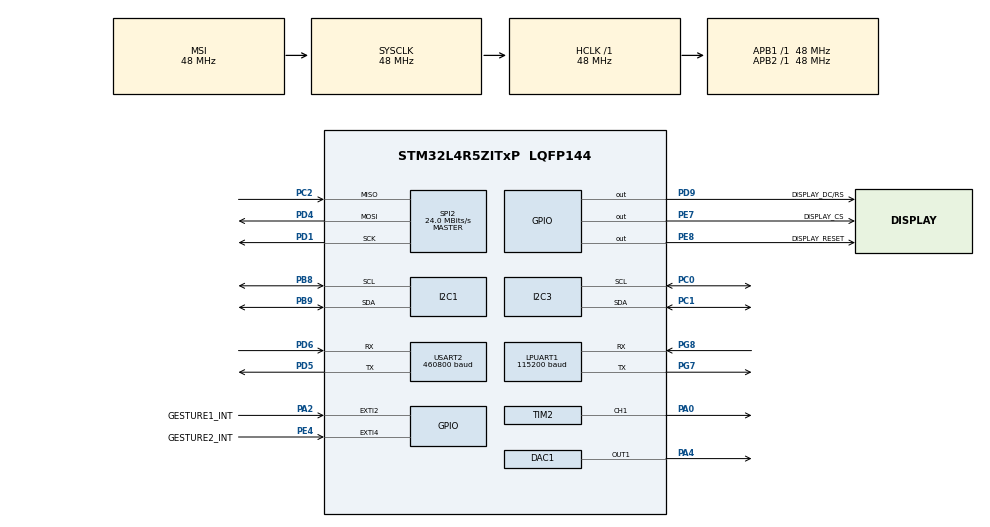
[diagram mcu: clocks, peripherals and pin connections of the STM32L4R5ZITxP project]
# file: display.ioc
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DAC1.DAC_Trigger-DAC_OUT1=DAC_TRIGGER_T5_TRGO
Dma.DAC1_CH1.2.Direction=DMA_MEMORY_TO_PERIPH
Dma.DAC1_CH1.2.EventEnable=DISABLE
Dma.DAC1_CH1.2.Instance=DMA1_Channel4
Dma.DAC1_CH1.2.MemDataAlignment=DMA_MDATAALIGN_BYTE
Dma.DAC1_CH1.2.MemInc=DMA_MINC_ENABLE
Dma.DAC1_CH1.2.Mode=DMA_CIRCULAR
Dma.DAC1_CH1.2.PeriphDataAlignment=DMA_PDATAALIGN_HALFWORD
Dma.DAC1_CH1.2.PeriphInc=DMA_PINC_DISABLE
Dma.DAC1_CH1.2.Polarity=HAL_DMAMUX_REQUEST_GEN_RISING
Dma.DAC1_CH1.2.Priority=DMA_PRIORITY_LOW
Dma.DAC1_CH1.2.RequestNumber=1
Dma.DAC1_CH1.2.SignalID=NONE
Dma.DAC1_CH1.2.SyncEnable=DISABLE
Dma.DAC1_CH1.2.SyncPolarity=HAL_DMAMUX_SYNC_NO_EVENT
Dma.DAC1_CH1.2.SyncRequestNumber=1
Dma.DAC1_CH1.2.SyncSignalID=NONE
Dma.Request0=SPI2_TX
Dma.Request1=USART2_RX
Dma.Request2=DAC1_CH1
Dma.Request3=TIM2_CH1
Dma.SPI2_TX.0.Direction=DMA_MEMORY_TO_PERIPH
Dma.SPI2_TX.0.EventEnable=DISABLE
Dma.SPI2_TX.0.Instance=DMA1_Channel1
Dma.SPI2_TX.0.MemDataAlignment=DMA_MDATAALIGN_BYTE
Dma.SPI2_TX.0.MemInc=DMA_MINC_ENABLE
Dma.SPI2_TX.0.Mode=DMA_NORMAL
Dma.SPI2_TX.0.PeriphDataAlignment=DMA_PDATAALIGN_BYTE
Dma.SPI2_TX.0.PeriphInc=DMA_PINC_DISABLE
Dma.SPI2_TX.0.Polarity=HAL_DMAMUX_REQUEST_GEN_RISING
Dma.SPI2_TX.0.Priority=DMA_PRIORITY_LOW
Dma.SPI2_TX.0.RequestNumber=1
Dma.SPI2_TX.0.SignalID=NONE
Dma.SPI2_TX.0.SyncEnable=DISABLE
Dma.SPI2_TX.0.SyncPolarity=HAL_DMAMUX_SYNC_NO_EVENT
Dma.SPI2_TX.0.SyncRequestNumber=1
Dma.SPI2_TX.0.SyncSignalID=NONE
Dma.TIM2_CH1.3.Direction=DMA_MEMORY_TO_PERIPH
Dma.TIM2_CH1.3.EventEnable=DISABLE
Dma.TIM2_CH1.3.Instance=DMA1_Channel3
Dma.TIM2_CH1.3.MemDataAlignment=DMA_MDATAALIGN_BYTE
Dma.TIM2_CH1.3.MemInc=DMA_MINC_ENABLE
Dma.TIM2_CH1.3.Mode=DMA_CIRCULAR
Dma.TIM2_CH1.3.PeriphDataAlignment=DMA_PDATAALIGN_WORD
Dma.TIM2_CH1.3.PeriphInc=DMA_PINC_DISABLE
Dma.TIM2_CH1.3.Polarity=HAL_DMAMUX_REQUEST_GEN_RISING
Dma.TIM2_CH1.3.Priority=DMA_PRIORITY_HIGH
Dma.TIM2_CH1.3.RequestNumber=1
Dma.TIM2_CH1.3.SignalID=NONE
Dma.TIM2_CH1.3.SyncEnable=DISABLE
Dma.TIM2_CH1.3.SyncPolarity=HAL_DMAMUX_SYNC_NO_EVENT
Dma.TIM2_CH1.3.SyncRequestNumber=1
Dma.TIM2_CH1.3.SyncSignalID=NONE
Dma.USART2_RX.1.Direction=DMA_PERIPH_TO_MEMORY
Dma.USART2_RX.1.EventEnable=DISABLE
Dma.USART2_RX.1.Instance=DMA1_Channel2
Dma.USART2_RX.1.MemDataAlignment=DMA_MDATAALIGN_BYTE
Dma.USART2_RX.1.MemInc=DMA_MINC_ENABLE
Dma.USART2_RX.1.Mode=DMA_NORMAL
Dma.USART2_RX.1.PeriphDataAlignment=DMA_PDATAALIGN_BYTE
Dma.USART2_RX.1.PeriphInc=DMA_PINC_DISABLE
Dma.USART2_RX.1.Polarity=HAL_DMAMUX_REQUEST_GEN_RISING
Dma.USART2_RX.1.Priority=DMA_PRIORITY_LOW
Dma.USART2_RX.1.RequestNumber=1
Dma.USART2_RX.1.SignalID=NONE
Dma.USART2_RX.1.SyncEnable=DISABLE
Dma.USART2_RX.1.SyncPolarity=HAL_DMAMUX_SYNC_NO_EVENT
Dma.USART2_RX.1.SyncRequestNumber=1
Dma.USART2_RX.1.SyncSignalID=NONE
I2C1.Timing=0x10805D88
I2C3.Timing=0x10805D88
LPUART1.BaudRate=115200
LPUART1.WordLength=UART_WORDLENGTH_8B
Mcu.Family=STM32L4
Mcu.Name=STM32L4R5ZITxP
Mcu.Package=LQFP144
NVIC.DMA1_Channel1_IRQn=true\:1\:0\:true\:false\:true\:false\:true\:true
NVIC.DMA1_Channel2_IRQn=true\:1\:0\:true\:false\:true\:false\:true\:true
NVIC.DMA1_Channel3_IRQn=true\:0\:0\:false\:false\:true\:false\:true\:true
NVIC.DMA1_Channel4_IRQn=true\:1\:0\:true\:false\:true\:false\:true\:true
NVIC.EXTI2_IRQn=true\:0\:0\:true\:false\:true\:true\:true\:true
NVIC.EXTI4_IRQn=true\:0\:0\:false\:false\:true\:true\:true\:true
NVIC.PriorityGroup=NVIC_PRIORITYGROUP_4
NVIC.SPI2_IRQn=true\:1\:0\:true\:false\:true\:true\:true\:true
PA0.Signal=S_TIM2_CH1
PA1.Signal=ADCx_IN6
PA10.Signal=USB_OTG_FS_ID
PA13\ (JTMS/SWDIO).Mode=Serial_Wire
PA13\ (JTMS/SWDIO).Signal=SYS_JTMS-SWDIO
PA14\ (JTCK/SWCLK).Mode=Serial_Wire
PA14\ (JTCK/SWCLK).Signal=SYS_JTCK-SWCLK
PA2.GPIO_Label=GESTURE1_INT
PA2.GPIO_PuPd=GPIO_PULLUP
PA2.Signal=GPXTI2
PA3.Signal=ADCx_IN8
PA4.Signal=COMP_DAC11_group
PA5.Signal=SPI1_SCK
PA6.Signal=SPI1_MISO
PA7.Signal=SPI1_MOSI
PA8.Signal=USB_OTG_FS_SOF
PA9.Signal=USB_OTG_FS_VBUS
PB0.Signal=S_TIM3_CH3
PB1.Signal=ADCx_IN16
PB10.Signal=S_TIM2_CH3
PB12.Signal=SAI2_FS_A
PB13.Signal=SAI2_SCK_A
PB14.Signal=S_TIM15_CH1
PB15.Signal=SAI2_SD_A
PB2.Signal=COMP1_INP
PB3\ (JTDO/TRACESWO).Signal=SPI3_SCK
PB4\ (NJTRST).Signal=SPI3_MISO
PB5.Signal=SPI3_MOSI
PB6.Signal=COMP2_INP
PB8.GPIO_Pu=GPIO_PULLUP
PB8.Mode=I2C
PB8.Signal=I2C1_SCL
PB9.GPIO_Pu=GPIO_PULLUP
PB9.Mode=I2C
PB9.Signal=I2C1_SDA
PC0.GPIO_Pu=GPIO_PULLUP
PC0.Mode=I2C
PC0.Signal=I2C3_SCL
PC1.GPIO_Pu=GPIO_PULLUP
PC1.Mode=I2C
PC1.Signal=I2C3_SDA
PC10.Signal=SDMMC1_D2
PC11.Signal=SDMMC1_D3
PC12.Signal=SDMMC1_CK
PC13.Signal=SYS_WKUP2
PC14-OSC32_IN\ (PC14).Mode=LSE-External-Oscillator
PC14-OSC32_IN\ (PC14).Signal=RCC_OSC32_IN
PC15-OSC32_OUT\ (PC15).Mode=LSE-External-Oscillator
PC15-OSC32_OUT\ (PC15).Signal=RCC_OSC32_OUT
PC2.Mode=Full_Duplex_Master
PC2.Signal=SPI2_MISO
PC3.Signal=ADCx_IN4
PC4.Signal=ADCx_IN13
PC5.Signal=ADCx_IN14
PC6.Signal=SAI2_MCLK_A
PC7.Signal=S_TIM3_CH2
PC8.Signal=SDMMC1_D0
PC9.Signal=SDMMC1_D1
PD0.Signal=CAN1_RX
PD1.Mode=Full_Duplex_Master
PD1.Signal=SPI2_SCK
PD14.Signal=S_TIM4_CH3
PD15.Signal=S_TIM4_CH4
PD2.Signal=SDMMC1_CMD
PD3.Signal=USART2_CTS
PD4.Mode=Full_Duplex_Master
PD4.Signal=SPI2_MOSI
PD5.Mode=Asynchronous
PD5.Signal=USART2_TX
PD6.Mode=Asynchronous
PD6.Signal=USART2_RX
PD8.Signal=USART3_TX
PD9.GPIO_Label=DISPLAY_DC/RS
PD9.Signal=GPIO_Output
PE0.Signal=S_TIM4_ETR
PE10.Signal=TIM1_CH2N
PE11.Signal=S_TIM1_CH2
PE12.Signal=TIM1_CH3N
PE13.Signal=S_TIM1_CH3
PE14.Signal=TIM1_BKIN2
PE15.Signal=TIM1_BKIN
PE2.Signal=SAI1_MCLK_A
PE3.Signal=SAI1_SD_B
PE4.GPIO_Label=GESTURE2_INT
PE4.Signal=GPXTI4
PE7.GPIO_Label=DISPLAY_CS
PE7.Signal=GPIO_Output
PE8.GPIO_Label=DISPLAY_RESET
PE8.Signal=GPIO_Output
PE9.Signal=S_TIM1_CH1
PF0.Signal=I2C2_SDA
PF1.Signal=I2C2_SCL
PF2.Signal=I2C2_SMBA
PF7.Signal=SAI1_MCLK_B
PG7.Mode=Asynchronous
PG7.Signal=LPUART1_TX
PG8.Mode=Asynchronous
PG8.Signal=LPUART1_RX
PH0-OSC_IN\ (PH0).Signal=RCC_OSC_IN
PH1-OSC_OUT\ (PH1).Signal=RCC_OSC_OUT
ProjectManager.HeapSize=0x200
ProjectManager.StackSize=0x400
ProjectManager.TargetToolchain=STM32CubeIDE
RCC.ADCFreq_Value=192000000
RCC.AHBFreq_Value=48000000
RCC.APB1Freq_Value=48000000
RCC.APB1TimFreq_Value=48000000
RCC.APB2Freq_Value=48000000
RCC.APB2TimFreq_Value=48000000
RCC.CortexFreq_Value=48000000
RCC.HCLKFreq_Value=48000000
RCC.HSE_VALUE=8000000
RCC.HSI48_VALUE=48000000
RCC.HSI_VALUE=16000000
RCC.MSIClockRange=RCC_MSIRANGE_11
RCC.MSI_VALUE=48000000
RCC.SYSCLKFreq_VALUE=48000000
RCC.USBFreq_Value=192000000
RCC.VCOOutputFreq_Value=384000000
SH.ADCx_IN13.0=ADC1_IN13
SH.ADCx_IN14.0=ADC1_IN14
SH.ADCx_IN16.0=ADC1_IN16
SH.ADCx_IN4.0=ADC1_IN4
SH.ADCx_IN6.0=ADC1_IN6
SH.ADCx_IN8.0=ADC1_IN8
SH.COMP_DAC11_group.0=DAC1_OUT1,DAC_OUT1
SH.S_TIM15_CH1.0=TIM15_CH1
SH.S_TIM1_CH1.0=TIM1_CH1
SH.S_TIM1_CH2.0=TIM1_CH2
SH.S_TIM1_CH3.0=TIM1_CH3
SH.S_TIM2_CH1.0=TIM2_CH1,PWM Generation1 CH1
SH.S_TIM2_CH3.0=TIM2_CH3
SH.S_TIM3_CH2.0=TIM3_CH2
SH.S_TIM3_CH3.0=TIM3_CH3
SH.S_TIM4_CH3.0=TIM4_CH3
SH.S_TIM4_CH4.0=TIM4_CH4
SH.S_TIM4_ETR.0=TIM4_ETR
SPI2.BaudRatePrescaler=SPI_BAUDRATEPRESCALER_2
SPI2.CalculateBaudRate=24.0 MBits/s
SPI2.DataSize=SPI_DATASIZE_8BIT
SPI2.Direction=SPI_DIRECTION_2LINES
SPI2.Mode=SPI_MODE_MASTER
SPI2.VirtualType=VM_MASTER
TIM2.Channel-PWM\ Generation1\ CH1=TIM_CHANNEL_1
TIM2.Period=59
TIM2.TIM_MasterOutputTrigger=TIM_TRGO_UPDATE
TIM5.Period=999
TIM5.Prescaler=2
TIM5.TIM_MasterOutputTrigger=TIM_TRGO_UPDATE
USART2.BaudRate=460800
USART2.VirtualMode-Asynchronous=VM_ASYNC
VP_TIM2_VS_ClockSourceINT.Mode=Internal
VP_TIM5_VS_ClockSourceINT.Mode=Internal
board=NUCLEO-L4R5ZI-P

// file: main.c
/* USER CODE BEGIN Header */
/**
  ******************************************************************************
  * @file           : main.c
  * @brief          : Main program body
  ******************************************************************************
  * @attention
  *
  * Copyright (c) 2025 STMicroelectronics.
  * All rights reserved.
  *
  * This software is licensed under terms that can be found in the LICENSE file
  * in the root directory of this software component.
  * If no LICENSE file comes with this software, it is provided AS-IS.
  *
  ******************************************************************************
  */
/* USER CODE END Header */
#include "main.h"

/* USER CODE BEGIN Includes */
#include "lvgl.h"
#include "ili9488.h"
#include "lcd_io.h"
#include "screens.h"
#include "arm_math.h"
#include "sk6812.h"
#include "stdio.h"
#include "apds9960.h"

#include "ui.h"

/* USER CODE END Includes */

/* USER CODE BEGIN PD */
#define RESOLUTION_HORIZONTAL 480
#define RESOLUTION_VERTICAL 320

#define BYTES_PER_PIXEL (LV_COLOR_FORMAT_GET_SIZE(LV_COLOR_FORMAT_RGB565))

#define AUDIO_SAMPLE_RATE_HZ 16000u   // or whatever your WAV sample rate is

volatile uint32_t g_samples_played = 0;  // samples in *current song*
volatile uint32_t g_last_samples_played = 0;  // samples in *current song*

volatile uint32_t g_ms_since_song_start = 0; // optional, derived in main

/* USER CODE END PD */

DAC_HandleTypeDef hdac1;
DMA_HandleTypeDef hdma_dac1_ch1;

I2C_HandleTypeDef hi2c1;
I2C_HandleTypeDef hi2c3;

UART_HandleTypeDef hlpuart1;
UART_HandleTypeDef huart2;
DMA_HandleTypeDef hdma_usart2_rx;

SPI_HandleTypeDef hspi2;
DMA_HandleTypeDef hdma_spi2_tx;

TIM_HandleTypeDef htim2;
TIM_HandleTypeDef htim5;
DMA_HandleTypeDef hdma_tim2_ch1;

/* USER CODE BEGIN PV */

APDS9960_t PAUSE_SKIP_Sensor;
APDS9960_t VOLUME_SPEED_Sensor;

static uint8_t buf1[(RESOLUTION_HORIZONTAL * RESOLUTION_VERTICAL / 10 * BYTES_PER_PIXEL)];
static uint8_t buf2[(RESOLUTION_HORIZONTAL * RESOLUTION_VERTICAL / 10 * BYTES_PER_PIXEL)];
static const enum ScreensEnum SONG_SCREENS[] = {
	SCREEN_ID_ESPRESSO,
	SCREEN_ID_BLUE,
    SCREEN_ID_BOHEMIAN_RHAPSODY,
    SCREEN_ID_YELLOW,
    SCREEN_ID_IMISS_YOU,
    SCREEN_ID_TONIGHT,
    SCREEN_ID_CRAZY,
	SCREEN_ID_MR_BRIGHTSIDE,
	SCREEN_ID_LAST_CHRISTMAS,
	SCREEN_ID_GNARLY,
    SCREEN_ID_HEAVY,
	SCREEN_ID_PROMISE,
};

static const int NUM_SONGS =12;

/* USER CODE END PV */

void SystemClock_Config(void);
static void MX_GPIO_Init(void);
static void MX_DMA_Init(void);
static void MX_SPI2_Init(void);
static void MX_USART2_UART_Init(void);
static void MX_DAC1_Init(void);
static void MX_TIM5_Init(void);
static void MX_TIM2_Init(void);
static void MX_I2C1_Init(void);
static void MX_I2C3_Init(void);
static void MX_LPUART1_UART_Init(void);

/* USER CODE BEGIN 0 */

#define BUF_SIZE 2048
#define HALF 1024
#define TIMEOUT 1000
int playing = 0; //initial flag - have we started the process?
int paused = 0;
int accel = 0;
int terminated = 0;
int first_half = 0;
int audio_received = 0; //flag - have we received any subsequent data since last callback?
int fft_ready = 0;

uint8_t next_cmd = 'S';
uint8_t rx_buffer[BUF_SIZE] = {0};
uint8_t skip_requested = 0;

float volume = 2.0f;
const float VOL_MIN = 0.5f;			// MAYBE [0,5] with different speaker
const float VOL_MAX = 3.5f;
const float VOL_STEP = 0.5f;
float speed = 0.0f;
const float SPEED_STEP = 0.2f;
const float SPEED_MAX = 1.6f;
const float SPEED_MIN = -1.6f;
const float MULT_MIN = 0.25f;   // or 0.5f
const float MULT_MAX = 4.0f;

float32_t pcm_float[HALF];
float32_t fft_input[FFT_SIZE];    // time-domain samples (copied from rx_buffer)
float32_t fft_output[FFT_SIZE];   // freq-domain complex output
float32_t fft_mag[FFT_SIZE/2] = {0};    // magnitude of first N/2 bins
arm_rfft_fast_instance_f32 fft_instance;

typedef struct {
	const char *title;
	const char *artist;
	uint16_t bpm;
	uint16_t duration;
} SongMetaData;

#define NUM_SONGS	13

const SongMetaData g_songs[13] = {
		[1] = {"Espresso", "Sabrina Carpenter", 104, 175},
		[2] = {"BLUE", "Billie Eilish", 142, 344},
		[3] = {"Bohemian Rhapsody", "Queen", 144, 360},
		[4] = {"Yellow", "Coldplay", 88, 270},
		[5] = {"I Miss You", "Blink-182", 111, 230},
		[6] = {"Tonight", "Pink Pantheress", 141, 177},
		[7] = {"Crazy", "Le Sserafim", 130, 165},
		[8] = {"Mr. Brightside", "The Killers", 148, 223},
		[9] = {"Last Christmas", "Wham!", 107, 278},
		[10] = {"Gnarly", "Katseye", 135, 142},
		[11] = {"Heavy", "The Marias", 97, 254},
		[12] = {"Promise", "Laufey", 76, 234},
};

uint16_t g_current = 0;
uint16_t g_bpm = 0;

void my_flush_cb(lv_display_t * display, const lv_area_t * area, uint8_t * px_map)
{
    /* The most simple case (also the slowest) to send all rendered pixels to the
     * screen one-by-one.  `put_px` is just an example.  It needs to be implemented by you. */
	//ili9488_SetDisplayWindow(area->x1, area->y1, area->x2, area->y2);
    uint16_t * buf16 = (uint16_t *)px_map; /* Let's say it's a 16 bit (RGB565) display */

    int32_t x, y;

    uint16_t w = (uint16_t)(area->x2 - area->x1 + 1);
    uint16_t h = (uint16_t)(area->y2 - area->y1 + 1);

    ili9488_DrawRGBImage(area->x1, area->y1, w, h, buf16);

    /* IMPORTANT!!!
     * Inform LVGL that flushing is complete so buffer can be modified again. */
    lv_display_flush_ready(display);
}

// create a global array of page names
// display the next page when this is called
static lv_obj_t *get_root_for_screen(enum ScreensEnum screen) {
    switch (screen) {
        case SCREEN_ID_ESPRESSO:          return objects.espresso;
        case SCREEN_ID_BLUE:              return objects.blue;
        case SCREEN_ID_BOHEMIAN_RHAPSODY: return objects.bohemian_rhapsody;
        case SCREEN_ID_YELLOW:            return objects.yellow;
        case SCREEN_ID_IMISS_YOU:         return objects.imiss_you;
        case SCREEN_ID_TONIGHT:           return objects.tonight;
        case SCREEN_ID_CRAZY:             return objects.crazy;
        case SCREEN_ID_MR_BRIGHTSIDE:     return objects.mr_brightside;
        case SCREEN_ID_LAST_CHRISTMAS:    return objects.last_christmas;
        case SCREEN_ID_GNARLY:            return objects.gnarly;
        case SCREEN_ID_HEAVY:             return objects.heavy;
        case SCREEN_ID_PROMISE:           return objects.promise;
        default:                          return NULL;
    }
}

static lv_obj_t *get_bar_for_screen(enum ScreensEnum screen) {
    switch (screen) {
        case SCREEN_ID_ESPRESSO:  		return objects.obj0;
        case SCREEN_ID_BLUE:         	return objects.obj5;
        case SCREEN_ID_BOHEMIAN_RHAPSODY:return objects.obj14;
        case SCREEN_ID_YELLOW:			return objects.obj16;
        case SCREEN_ID_IMISS_YOU:           return objects.obj18;
        case SCREEN_ID_TONIGHT:            return objects.obj20;
        case SCREEN_ID_CRAZY:        return objects.obj23;
        case SCREEN_ID_MR_BRIGHTSIDE:          return objects.obj31;
        case SCREEN_ID_LAST_CHRISTMAS:            return objects.obj34;
        case SCREEN_ID_GNARLY:            return objects.obj40;
        case SCREEN_ID_HEAVY:            return objects.obj42;
        case SCREEN_ID_PROMISE:            return objects.obj46;
        default:                         return NULL;
    }
}

static lv_obj_t *get_arc_for_screen(enum ScreensEnum screen) {
    switch (screen) {
        case SCREEN_ID_ESPRESSO:  		return objects.obj3;
        case SCREEN_ID_BLUE:         	return objects.obj10;
        case SCREEN_ID_BOHEMIAN_RHAPSODY:return objects.obj15;
        case SCREEN_ID_YELLOW:			return objects.obj17;
        case SCREEN_ID_IMISS_YOU:           return objects.obj19;
        case SCREEN_ID_TONIGHT:            return objects.obj21;
        case SCREEN_ID_CRAZY:        return objects.obj28;
        case SCREEN_ID_MR_BRIGHTSIDE:          return objects.obj32;
        case SCREEN_ID_LAST_CHRISTMAS:            return objects.obj39;
        case SCREEN_ID_GNARLY:            return objects.obj41;
        case SCREEN_ID_HEAVY:            return objects.obj43;
        case SCREEN_ID_PROMISE:            return objects.obj47;
        default:                         return NULL;
    }
}

static lv_obj_t *get_obj_from_root(lv_obj_t *parent, int idx) {
	// IDX:
	// 1 = PAUSE/PLAY
	// 2 = LEFT
	// 3 = RIGHT
	// 5 = SPEED
    if (parent == NULL) return NULL;

    uint32_t cnt = lv_obj_get_child_cnt(parent);
    if (cnt == 0) return NULL;

    printf("%d \n\r", cnt-idx);
    return lv_obj_get_child(parent, cnt - idx);
}

static lv_obj_t *get_obj_for_screen(enum ScreensEnum screen, int idx) {
    lv_obj_t *root = get_root_for_screen(screen);
    if (!root) return NULL;
    return get_obj_from_root(root, idx);
}

static void update_play_pause_button(enum ScreensEnum screen) {
	// toggle the button from prev state when called
    lv_obj_t *btn = get_obj_for_screen(screen, 1);
    if (!btn) return;

    if (paused) {
        // show "play" image (PRESSED state uses img_play_332)
        printf("changing to play pic\n\r");
        lv_imagebutton_set_state(btn, LV_IMAGEBUTTON_STATE_PRESSED);
    } else {
        // show "pause" image (RELEASED state uses img_pause)
        printf("changing to pause pic\n\r");
        lv_imagebutton_set_state(btn, LV_IMAGEBUTTON_STATE_RELEASED);
    }
}

static void update_left_right_gesture(enum ScreensEnum screen, bool is_left, char dir) {
	lv_obj_t *btn;
	if (is_left) {
	    btn = get_obj_for_screen(screen, 2);

	}
	else{ // is right
		 btn = get_obj_for_screen(screen, 3);
	}
	   if (!btn) return;

	   if (dir == 'l') { // left
		   lv_imagebutton_set_state(btn, LV_IMAGEBUTTON_STATE_RELEASED);
	   } else if (dir == 'u'){
		   lv_imagebutton_set_state(btn, LV_IMAGEBUTTON_STATE_PRESSED);
	   }
	   else if (dir == 'r'){
	   		   lv_imagebutton_set_state(btn, LV_IMAGEBUTTON_STATE_CHECKED_RELEASED);
	   	   }

	   else if (dir == 'd'){
		   lv_imagebutton_set_state(btn, LV_IMAGEBUTTON_STATE_CHECKED_PRESSED);
	   }
}

static void update_volume_arc(enum ScreensEnum screen, int volume) {

	volume = volume * 2;
	 lv_obj_t *arc = get_arc_for_screen(screen);
	int scaled_volume = (volume* 100) / 7;
	lv_arc_set_value(arc, scaled_volume);

}

float map_speed_to_multiplier(float speed)
{
    const float SPEED_MIN = -1.6f;
    const float SPEED_MAX =  1.6f;

    // Pick the range YOU want:
    const float MULT_MIN = 0.25f;   // or 0.5f
    const float MULT_MAX = 4.0f;    // or 2.0f

    // clamp speed
    if (speed > SPEED_MAX) speed = SPEED_MAX;
    if (speed < SPEED_MIN) speed = SPEED_MIN;

    // linear map from [-1.6 , +1.6] to [MULT_MIN , MULT_MAX]
    float norm = (speed - SPEED_MIN) / (SPEED_MAX - SPEED_MIN);
    float mult = MULT_MIN + norm * (MULT_MAX - MULT_MIN);
    return mult;
}

static void update_speed_label(enum ScreensEnum screen, int speed) {
    lv_obj_t *label = get_obj_for_screen(screen, 5);

    float multiplier = map_speed_to_multiplier(speed);
    char buf[32];
    snprintf(buf, sizeof(buf), "Speed:\n%f", speed);

    lv_label_set_text(label, buf);
}

static float Audio_GetElapsedSeconds(void)
{
    return (float)g_samples_played / (float)AUDIO_SAMPLE_RATE_HZ;
}

static uint32_t Audio_GetElapsedMs(void)
{
    // avoid float if you want:
    return (g_samples_played * 1000u) / AUDIO_SAMPLE_RATE_HZ;
}

void HAL_GPIO_EXTI_Callback(uint16_t pin) {
	//printf("Gesture interrupt fired\n\r");
	if (pin == GESTURE1_INT_Pin) PAUSE_SKIP_Sensor.Gesture_Flag = 1;
	if (pin == GESTURE2_INT_Pin) VOLUME_SPEED_Sensor.Gesture_Flag = 1;
	//disableGesture();
}

static void RequestNextChunk(uint8_t *dest) {
	if (paused) {
	        // Don’t ask Python for more audio while paused
	        return;
	    }
	uint8_t cmd = next_cmd;
	HAL_UART_Transmit(&huart2, &cmd, 1, TIMEOUT);
	// if we want to return to the normal speed
	if (next_cmd == 'A' || next_cmd == 'D'  || next_cmd == 'K' || next_cmd == 'B' || next_cmd == 'S') {
			next_cmd = 'S';
	}
	HAL_UART_Receive_DMA(&huart2, dest, HALF);
}

void HAL_UART_RxCpltCallback(UART_HandleTypeDef *huart) {
  // If we aren't playing yet, start DAC DMA + timer
  if (!playing) {
      HAL_DAC_Start_DMA(&hdac1, DAC_CHANNEL_1, (uint32_t*)rx_buffer, BUF_SIZE, DAC_ALIGN_8B_R);
      HAL_TIM_Base_Start(&htim5);
      RequestNextChunk(&rx_buffer[HALF]);
      playing = 1;
  }
  audio_received = 1;
}

// DAC DMA Callback when it is halfway through the buffer
// called when the DAC DMA has finished transferring the first half of the DAC buffer to the peripheral
// DMA reads sample from second half of buffer
void HAL_DAC_ConvHalfCpltCallbackCh1(DAC_HandleTypeDef *hdac)
{
  if (!audio_received) {
  	HAL_DAC_Stop_DMA(&hdac1, DAC_CHANNEL_1);
  	HAL_TIM_Base_Stop(&htim5);
  	playing = 0;
      HAL_UART_AbortReceive(&huart2);
      HAL_UART_Receive_DMA(&huart2, &rx_buffer[0], HALF);
  }
  else {
      // Copy SECOND half (512..1023) before reusing it

	  /* FFT LOGIC START */
      for (int i = 0; i < FFT_SIZE; i++) {
          fft_input[i] = ((float)rx_buffer[HALF + i] - 128.0f) / 128.0f;

      }

      fft_ready = 1;

      // === CMSIS-DSP FLOAT CONVERSION (second half) ===
      for (int i = 0; i < HALF; i++) {
          pcm_float[i] = ((float32_t)rx_buffer[HALF + i] - 128.0f) / 128.0f;
      }

      // === APPLY VOLUME ===
      arm_scale_f32(pcm_float, volume, pcm_float, HALF);

      // === BACK TO PCM BYTES ===
      for (int i = 0; i < HALF; i++) {
          float32_t f = pcm_float[i] * 128.0f + 128.0f;
          if (f < 0) f = 0;
          if (f > 255) f = 255;
          rx_buffer[HALF + i] = (uint8_t)f;
      }

	  /* FFT LOGIC END */
      /* VOLUME CONTROL END */

      g_samples_played += HALF;

      RequestNextChunk(&rx_buffer[0]);
		audio_received = 0;
  }
}

// DAC DMA Callback when it has reached the end of the buffer, DMA to DAC
// called when DMA has finished transferring the SECOND HALF to the DAC and will wrap to the FIRST HALF
void HAL_DAC_ConvCpltCallbackCh1(DAC_HandleTypeDef *hdac)
{
	if (!audio_received) {
	    	HAL_DAC_Stop_DMA(&hdac1, DAC_CHANNEL_1);
	    	HAL_TIM_Base_Stop(&htim5);
	    	playing = 0;
	        HAL_UART_AbortReceive(&huart2);
	        HAL_UART_Receive_DMA(&huart2, &rx_buffer[0], HALF); //
	    }
	    else {

	  	  /* FFT LOGIC START */
	    	// Copy FIRST half (0..511) before reusing it
	        for (int i = 0; i < FFT_SIZE; i++) {
	            fft_input[i] = ((float)rx_buffer[i] - 128.0f) / 128.0f;
	        }
	        fft_ready = 1;

	        // === CMSIS FLOAT CONVERSION (first half) ===
	              for (int i = 0; i < HALF; i++) {
	                  pcm_float[i] = ((float32_t)rx_buffer[i] - 128.0f) / 128.0f;
	              }

	              // === SCALE ===
	              arm_scale_f32(pcm_float, volume, pcm_float, HALF);

	              // === BACK TO PCM BYTE ===
	              for (int i = 0; i < HALF; i++) {
	                  float32_t f = pcm_float[i] * 128.0f + 128.0f;
	                  if (f < 0) f = 0;
	                  if (f > 255) f = 255;
	                  rx_buffer[i] = (uint8_t)f;
	              }
	      /* VOLUME CONTROL END */
	        g_samples_played += HALF;

	  	  /* FFT LOGIC END */

	    	RequestNextChunk(&rx_buffer[HALF]);
	    	audio_received = 0;
	    }
}
void ReadHeaderFromHost(void)
{
    char buf[32];       // plenty of room: "HDR|123\n\0"
    uint8_t ch;
    int idx = 0;

    // Read until newline or buffer full
    while (idx < (int)(sizeof(buf) - 1)) {
        if (HAL_UART_Receive(&huart2, &ch, 1, HAL_MAX_DELAY) != HAL_OK) {
            // UART error, try again
            continue;
        }
        if (ch == '\n') {
            break;
        }
        buf[idx++] = (char)ch;
    }
    buf[idx] = '\0';

    int song_idx = 0;   // default if parsing fails

    if (strncmp(buf, "HDR|", 4) == 0) {
        // parse the integer after "HDR|"
        song_idx = atoi(&buf[4]);
    }

    // Clamp to valid range
    if (song_idx < 0 || song_idx >= NUM_SONGS) {
        song_idx = 0;
    }

    // Update global "current song" index
    g_current = (uint16_t)song_idx;

    // Pull BPM from  metadata table
    g_bpm = g_songs[g_current].bpm;

    // Optional but super useful for debugging:
    printf("Header RX: '%s' -> idx=%d, bpm=%d, mode=%d\r\n",
           buf, song_idx, g_bpm);
}

/* USER CODE END 0 */

int main(void)
{

	/* MCU Configuration--------------------------------------------------------*/

	/* Reset of all peripherals, Initializes the Flash interface and the Systick. */
	HAL_Init();

	/* Configure the system clock */
	SystemClock_Config();

	/* Initialize all configured peripherals */
	MX_GPIO_Init();
	MX_DMA_Init();
	MX_SPI2_Init();
	MX_USART2_UART_Init();
	MX_DAC1_Init();
	MX_TIM5_Init();
	MX_TIM2_Init();
	MX_I2C1_Init();
	MX_I2C3_Init();
	MX_LPUART1_UART_Init();
	/* USER CODE BEGIN 2 */

	ili9488_Init();

	HAL_UART_Receive_DMA(&huart2, &rx_buffer[0], HALF);

	lv_init();
	lv_tick_set_cb(HAL_GetTick);

	lv_disp_t * display1 = lv_display_create(RESOLUTION_HORIZONTAL, RESOLUTION_VERTICAL);
	lv_display_set_rotation(display1, LV_DISPLAY_ROTATION_0); //setting it to LV_DISPLAY_ROTATION_180 made no difference
	lv_display_set_buffers(display1, buf1, buf2, sizeof(buf1), LV_DISPLAY_RENDER_MODE_PARTIAL);

	lv_display_set_flush_cb(display1, my_flush_cb);

	ui_init();

	int curr_index = 0;
	enum ScreensEnum curr_screen = SONG_SCREENS[curr_index];

	sensor_init(&PAUSE_SKIP_Sensor, &hi2c3);
	sensor_init(&VOLUME_SPEED_Sensor, &hi2c1);

	begin(&PAUSE_SKIP_Sensor);
	begin(&VOLUME_SPEED_Sensor);

	enableGesture(&PAUSE_SKIP_Sensor);
	enableGesture(&VOLUME_SPEED_Sensor);

	int curr_progress = 0;

	// get the bar for the current screen
	lv_obj_t *label_obj = get_obj_for_screen(curr_screen,5);
	lv_obj_add_flag(label_obj, LV_OBJ_FLAG_HIDDEN);
	lv_obj_t *bar_obj = get_bar_for_screen(curr_screen);
	int curr_max_value = lv_bar_get_max_value(bar_obj);
	lv_bar_set_value(bar_obj, curr_progress, LV_ANIM_OFF);

	uint32_t last_update = HAL_GetTick();

	arm_rfft_fast_init_f32(&fft_instance, FFT_SIZE);

	const uint8_t S = 'S';
	HAL_UART_Transmit(&huart2, &S, 1, TIMEOUT);

  /* USER CODE END 2 */

  /* USER CODE BEGIN WHILE */
	while (1)
	{
	  if (fft_ready)
	  {
		 fft_ready = 0;

		 // 1) Run FFT on fft_input (already filled in callbacks)
		 arm_rfft_fast_f32(&fft_instance, fft_input, fft_output, 0); // 0 = forward FFT

		 // 2) Compute magnitude of first N/2 complex bins
		 // fft_output is [Re0, Im0, Re1, Im1, ..., Re(N/2-1), Im(N/2-1)]
		 // fft_mag: how strong each frequency is in the audio chunk you just analyzed
		 arm_cmplx_mag_f32(fft_output, fft_mag, FFT_SIZE/2);
		 update_fft_bars();
	 }
	  while (hdma_tim2_ch1.State != HAL_DMA_STATE_READY || wr_buf_p != 0);
		 animate_bars_pulse();
		 led_render();

		 uint32_t time_till_next = lv_timer_handler();

		 uint32_t now = HAL_GetTick();

		 if (now - last_update >= 1000) {
			  last_update = now;

			  if (!paused) {
				  uint32_t elapsed_s = Audio_GetElapsedSeconds();

				  // clamp to bar max (which you set to song duration)
				  if (elapsed_s > (uint32_t)curr_max_value) {
					  elapsed_s = (uint32_t)curr_max_value;
				  }
				  bar_obj = get_bar_for_screen(curr_screen);
				  curr_progress = elapsed_s;
				  lv_bar_set_value(bar_obj, curr_progress, LV_ANIM_OFF);
			  }

			  // treat "bar is at max" as end-of-song
			  if (curr_progress >= curr_max_value) {
				  // reached end -> go to next song in playlist
				  curr_index = (curr_index + 1) % 12;
				  curr_screen = SONG_SCREENS[curr_index];
				  loadScreen(curr_screen);
				  lv_obj_t *label_obj = get_obj_for_screen(curr_screen,5);

				  lv_obj_add_flag(label_obj, LV_OBJ_FLAG_HIDDEN);

				  update_play_pause_button(curr_screen);

				  bar_obj = get_bar_for_screen(curr_screen);
				  if (bar_obj == NULL) {
					  while (1) {
						  // mapping bug
					  }
				  }

				  curr_max_value = lv_bar_get_max_value(bar_obj);
				  curr_progress = 0;
				  g_samples_played = 0;   // <-- reset for new track

				  lv_bar_set_value(bar_obj, curr_progress, LV_ANIM_OFF);
			  }
		  }

		  if(gestureAvailable(&PAUSE_SKIP_Sensor)) {
					 int gesture2 = readGesture(&PAUSE_SKIP_Sensor);

					 if(gesture2 != -1) {
			  	  			 printf("PAUSE_SKIP Gesture read : %d\n\r", gesture2);
					 }

					 if (gesture2 == 1){
						   if(!paused){
								// was previously playing, now paused
								const uint8_t P= 'P';

								paused = 1;
								HAL_UART_Transmit(&huart2, &P, 1, TIMEOUT);

							}

						   // PAUSE IS ON THE RIGHT
						   /* UPDATE GESTURE ON DISPLAY AND PAUSE PLAY */
							update_left_right_gesture(curr_screen, false, 'd');
							update_play_pause_button(curr_screen);
					 }

					 else if (gesture2 == 0){
						 if (paused) { // ws previously playing, now need to pause
							// was previously paused, now resume
							const uint8_t S = 'S';

							paused = 0;
							HAL_UART_Transmit(&huart2, &S, 1, TIMEOUT);

						}

						update_left_right_gesture(curr_screen, false, 'u');
						update_play_pause_button(curr_screen);

					 }

					 else if (gesture2 == 2 ) {
						 // next_cmd = 'A';
						next_cmd = 'B';
						curr_index = (curr_index - 1 + 12) % 12;
						curr_screen = SONG_SCREENS[curr_index];
						loadScreen(curr_screen);
						lv_obj_t *label_obj = get_obj_for_screen(curr_screen, 5);

						lv_obj_add_flag(label_obj, LV_OBJ_FLAG_HIDDEN);

						update_left_right_gesture(curr_screen, false, 'l');
						g_samples_played = 0;

					 }

					 else if (gesture2 == 3) {
						 // next_cmd = 'D';
						skip_requested = 1;
						next_cmd = 'K';
						update_left_right_gesture(curr_screen, false, 'r');
						g_samples_played = 0;
					 }
			  }

			  if(gestureAvailable(&VOLUME_SPEED_Sensor)) {

				  int gesture = readGesture(&VOLUME_SPEED_Sensor);

				  if (gesture == 0 ) {
						 volume += VOL_STEP;
						 if (volume > VOL_MAX) volume = VOL_MAX;
						 printf("Volume UP: %.2f\n\r", volume);
						 update_volume_arc(curr_screen, volume);
						 update_left_right_gesture(curr_screen, true, 'u');
				  }
				  else if (gesture == 1) {
						volume -= VOL_STEP;
						if (volume < VOL_MIN) volume = VOL_MIN;
						printf("Volume DOWN: %.2f\n\r", volume);
						update_volume_arc(curr_screen, volume);
						update_left_right_gesture(curr_screen, true, 'd');
					 }

				  else if (gesture == 2) {
						next_cmd = 'D';
			  		    printf("Slowing down\n\r");
						if (speed > SPEED_MIN) speed -= SPEED_STEP;
						update_left_right_gesture(curr_screen, true, 'l');
				  }

				  else { // GESTURE = 2
						next_cmd = 'A';
						if (speed < SPEED_MAX) speed += SPEED_STEP;
						update_left_right_gesture(curr_screen, true, 'r');
				  }
			  }
			if (skip_requested) {
				printf("before skip requested, paused state: %d\n\r", paused);
				skip_requested = 0; // reset flag
				curr_index = (curr_index + 1) % 12;
				curr_screen = SONG_SCREENS[curr_index];
				loadScreen(curr_screen);
				lv_obj_t *label_obj = get_obj_for_screen(curr_screen, 5);
				lv_obj_add_flag(label_obj, LV_OBJ_FLAG_HIDDEN);
				g_samples_played = 0;
			}
	}
    /* USER CODE END WHILE */

}

void SystemClock_Config(void)
{
  RCC_OscInitTypeDef RCC_OscInitStruct = {0};
  RCC_ClkInitTypeDef RCC_ClkInitStruct = {0};

  /** Configure the main internal regulator output voltage
  */
  if (HAL_PWREx_ControlVoltageScaling(PWR_REGULATOR_VOLTAGE_SCALE1) != HAL_OK)
  {
    Error_Handler();
  }

  /** Initializes the RCC Oscillators according to the specified parameters
  * in the RCC_OscInitTypeDef structure.
  */
  RCC_OscInitStruct.OscillatorType = RCC_OSCILLATORTYPE_MSI;
  RCC_OscInitStruct.MSIState = RCC_MSI_ON;
  RCC_OscInitStruct.MSICalibrationValue = 0;
  RCC_OscInitStruct.MSIClockRange = RCC_MSIRANGE_11;
  RCC_OscInitStruct.PLL.PLLState = RCC_PLL_NONE;
  if (HAL_RCC_OscConfig(&RCC_OscInitStruct) != HAL_OK)
  {
    Error_Handler();
  }

  /** Initializes the CPU, AHB and APB buses clocks
  */
  RCC_ClkInitStruct.ClockType = RCC_CLOCKTYPE_HCLK|RCC_CLOCKTYPE_SYSCLK
                              |RCC_CLOCKTYPE_PCLK1|RCC_CLOCKTYPE_PCLK2;
  RCC_ClkInitStruct.SYSCLKSource = RCC_SYSCLKSOURCE_MSI;
  RCC_ClkInitStruct.AHBCLKDivider = RCC_SYSCLK_DIV1;
  RCC_ClkInitStruct.APB1CLKDivider = RCC_HCLK_DIV1;
  RCC_ClkInitStruct.APB2CLKDivider = RCC_HCLK_DIV1;

  if (HAL_RCC_ClockConfig(&RCC_ClkInitStruct, FLASH_LATENCY_2) != HAL_OK)
  {
    Error_Handler();
  }
}

static void MX_DAC1_Init(void)
{

  DAC_ChannelConfTypeDef sConfig = {0};

  /** DAC Initialization
  */
  hdac1.Instance = DAC1;
  if (HAL_DAC_Init(&hdac1) != HAL_OK)
  {
    Error_Handler();
  }

  /** DAC channel OUT1 config
  */
  sConfig.DAC_SampleAndHold = DAC_SAMPLEANDHOLD_DISABLE;
  sConfig.DAC_Trigger = DAC_TRIGGER_T5_TRGO;
  sConfig.DAC_HighFrequency = DAC_HIGH_FREQUENCY_INTERFACE_MODE_DISABLE;
  sConfig.DAC_OutputBuffer = DAC_OUTPUTBUFFER_ENABLE;
  sConfig.DAC_ConnectOnChipPeripheral = DAC_CHIPCONNECT_DISABLE;
  sConfig.DAC_UserTrimming = DAC_TRIMMING_FACTORY;
  if (HAL_DAC_ConfigChannel(&hdac1, &sConfig, DAC_CHANNEL_1) != HAL_OK)
  {
    Error_Handler();
  }

}

static void MX_I2C1_Init(void)
{

  hi2c1.Instance = I2C1;
  hi2c1.Init.Timing = 0x10805D88;
  hi2c1.Init.OwnAddress1 = 0;
  hi2c1.Init.AddressingMode = I2C_ADDRESSINGMODE_7BIT;
  hi2c1.Init.DualAddressMode = I2C_DUALADDRESS_DISABLE;
  hi2c1.Init.OwnAddress2 = 0;
  hi2c1.Init.OwnAddress2Masks = I2C_OA2_NOMASK;
  hi2c1.Init.GeneralCallMode = I2C_GENERALCALL_DISABLE;
  hi2c1.Init.NoStretchMode = I2C_NOSTRETCH_DISABLE;
  if (HAL_I2C_Init(&hi2c1) != HAL_OK)
  {
    Error_Handler();
  }

  /** Configure Analogue filter
  */
  if (HAL_I2CEx_ConfigAnalogFilter(&hi2c1, I2C_ANALOGFILTER_ENABLE) != HAL_OK)
  {
    Error_Handler();
  }

  /** Configure Digital filter
  */
  if (HAL_I2CEx_ConfigDigitalFilter(&hi2c1, 0) != HAL_OK)
  {
    Error_Handler();
  }

}

static void MX_I2C3_Init(void)
{

  hi2c3.Instance = I2C3;
  hi2c3.Init.Timing = 0x10805D88;
  hi2c3.Init.OwnAddress1 = 0;
  hi2c3.Init.AddressingMode = I2C_ADDRESSINGMODE_7BIT;
  hi2c3.Init.DualAddressMode = I2C_DUALADDRESS_DISABLE;
  hi2c3.Init.OwnAddress2 = 0;
  hi2c3.Init.OwnAddress2Masks = I2C_OA2_NOMASK;
  hi2c3.Init.GeneralCallMode = I2C_GENERALCALL_DISABLE;
  hi2c3.Init.NoStretchMode = I2C_NOSTRETCH_DISABLE;
  if (HAL_I2C_Init(&hi2c3) != HAL_OK)
  {
    Error_Handler();
  }

  /** Configure Analogue filter
  */
  if (HAL_I2CEx_ConfigAnalogFilter(&hi2c3, I2C_ANALOGFILTER_ENABLE) != HAL_OK)
  {
    Error_Handler();
  }

  /** Configure Digital filter
  */
  if (HAL_I2CEx_ConfigDigitalFilter(&hi2c3, 0) != HAL_OK)
  {
    Error_Handler();
  }

}

static void MX_LPUART1_UART_Init(void)
{

  hlpuart1.Instance = LPUART1;
  hlpuart1.Init.BaudRate = 115200;
  hlpuart1.Init.WordLength = UART_WORDLENGTH_8B;
  hlpuart1.Init.StopBits = UART_STOPBITS_1;
  hlpuart1.Init.Parity = UART_PARITY_NONE;
  hlpuart1.Init.Mode = UART_MODE_TX_RX;
  hlpuart1.Init.HwFlowCtl = UART_HWCONTROL_NONE;
  hlpuart1.Init.OneBitSampling = UART_ONE_BIT_SAMPLE_DISABLE;
  hlpuart1.Init.ClockPrescaler = UART_PRESCALER_DIV1;
  hlpuart1.AdvancedInit.AdvFeatureInit = UART_ADVFEATURE_NO_INIT;
  hlpuart1.FifoMode = UART_FIFOMODE_DISABLE;
  if (HAL_UART_Init(&hlpuart1) != HAL_OK)
  {
    Error_Handler();
  }
  if (HAL_UARTEx_SetTxFifoThreshold(&hlpuart1, UART_TXFIFO_THRESHOLD_1_8) != HAL_OK)
  {
    Error_Handler();
  }
  if (HAL_UARTEx_SetRxFifoThreshold(&hlpuart1, UART_RXFIFO_THRESHOLD_1_8) != HAL_OK)
  {
    Error_Handler();
  }
  if (HAL_UARTEx_DisableFifoMode(&hlpuart1) != HAL_OK)
  {
    Error_Handler();
  }

}

static void MX_USART2_UART_Init(void)
{

  huart2.Instance = USART2;
  huart2.Init.BaudRate = 460800;
  huart2.Init.WordLength = UART_WORDLENGTH_8B;
  huart2.Init.StopBits = UART_STOPBITS_1;
  huart2.Init.Parity = UART_PARITY_NONE;
  huart2.Init.Mode = UART_MODE_TX_RX;
  huart2.Init.HwFlowCtl = UART_HWCONTROL_NONE;
  huart2.Init.OverSampling = UART_OVERSAMPLING_16;
  huart2.Init.OneBitSampling = UART_ONE_BIT_SAMPLE_DISABLE;
  huart2.Init.ClockPrescaler = UART_PRESCALER_DIV1;
  huart2.AdvancedInit.AdvFeatureInit = UART_ADVFEATURE_NO_INIT;
  if (HAL_UART_Init(&huart2) != HAL_OK)
  {
    Error_Handler();
  }
  if (HAL_UARTEx_SetTxFifoThreshold(&huart2, UART_TXFIFO_THRESHOLD_1_8) != HAL_OK)
  {
    Error_Handler();
  }
  if (HAL_UARTEx_SetRxFifoThreshold(&huart2, UART_RXFIFO_THRESHOLD_1_8) != HAL_OK)
  {
    Error_Handler();
  }
  if (HAL_UARTEx_DisableFifoMode(&huart2) != HAL_OK)
  {
    Error_Handler();
  }

}

static void MX_SPI2_Init(void)
{

  /* SPI2 parameter configuration*/
  hspi2.Instance = SPI2;
  hspi2.Init.Mode = SPI_MODE_MASTER;
  hspi2.Init.Direction = SPI_DIRECTION_2LINES;
  hspi2.Init.DataSize = SPI_DATASIZE_8BIT;
  hspi2.Init.CLKPolarity = SPI_POLARITY_LOW;
  hspi2.Init.CLKPhase = SPI_PHASE_1EDGE;
  hspi2.Init.NSS = SPI_NSS_SOFT;
  hspi2.Init.BaudRatePrescaler = SPI_BAUDRATEPRESCALER_2;
  hspi2.Init.FirstBit = SPI_FIRSTBIT_MSB;
  hspi2.Init.TIMode = SPI_TIMODE_DISABLE;
  hspi2.Init.CRCCalculation = SPI_CRCCALCULATION_DISABLE;
  hspi2.Init.CRCPolynomial = 7;
  hspi2.Init.CRCLength = SPI_CRC_LENGTH_DATASIZE;
  hspi2.Init.NSSPMode = SPI_NSS_PULSE_ENABLE;
  if (HAL_SPI_Init(&hspi2) != HAL_OK)
  {
    Error_Handler();
  }

}

static void MX_TIM2_Init(void)
{

  TIM_ClockConfigTypeDef sClockSourceConfig = {0};
  TIM_MasterConfigTypeDef sMasterConfig = {0};
  TIM_OC_InitTypeDef sConfigOC = {0};

  htim2.Instance = TIM2;
  htim2.Init.Prescaler = 0;
  htim2.Init.CounterMode = TIM_COUNTERMODE_UP;
  htim2.Init.Period = 59;
  htim2.Init.ClockDivision = TIM_CLOCKDIVISION_DIV1;
  htim2.Init.AutoReloadPreload = TIM_AUTORELOAD_PRELOAD_DISABLE;
  if (HAL_TIM_Base_Init(&htim2) != HAL_OK)
  {
    Error_Handler();
  }
  sClockSourceConfig.ClockSource = TIM_CLOCKSOURCE_INTERNAL;
  if (HAL_TIM_ConfigClockSource(&htim2, &sClockSourceConfig) != HAL_OK)
  {
    Error_Handler();
  }
  if (HAL_TIM_PWM_Init(&htim2) != HAL_OK)
  {
    Error_Handler();
  }
  sMasterConfig.MasterOutputTrigger = TIM_TRGO_UPDATE;
  sMasterConfig.MasterSlaveMode = TIM_MASTERSLAVEMODE_DISABLE;
  if (HAL_TIMEx_MasterConfigSynchronization(&htim2, &sMasterConfig) != HAL_OK)
  {
    Error_Handler();
  }
  sConfigOC.OCMode = TIM_OCMODE_PWM1;
  sConfigOC.Pulse = 0;
  sConfigOC.OCPolarity = TIM_OCPOLARITY_HIGH;
  sConfigOC.OCFastMode = TIM_OCFAST_DISABLE;
  if (HAL_TIM_PWM_ConfigChannel(&htim2, &sConfigOC, TIM_CHANNEL_1) != HAL_OK)
  {
    Error_Handler();
  }
  HAL_TIM_MspPostInit(&htim2);

}

static void MX_TIM5_Init(void)
{

  TIM_ClockConfigTypeDef sClockSourceConfig = {0};
  TIM_MasterConfigTypeDef sMasterConfig = {0};

  htim5.Instance = TIM5;
  htim5.Init.Prescaler = 2;
  htim5.Init.CounterMode = TIM_COUNTERMODE_UP;
  htim5.Init.Period = 999;
  htim5.Init.ClockDivision = TIM_CLOCKDIVISION_DIV1;
  htim5.Init.AutoReloadPreload = TIM_AUTORELOAD_PRELOAD_DISABLE;
  if (HAL_TIM_Base_Init(&htim5) != HAL_OK)
  {
    Error_Handler();
  }
  sClockSourceConfig.ClockSource = TIM_CLOCKSOURCE_INTERNAL;
  if (HAL_TIM_ConfigClockSource(&htim5, &sClockSourceConfig) != HAL_OK)
  {
    Error_Handler();
  }
  sMasterConfig.MasterOutputTrigger = TIM_TRGO_UPDATE;
  sMasterConfig.MasterSlaveMode = TIM_MASTERSLAVEMODE_DISABLE;
  if (HAL_TIMEx_MasterConfigSynchronization(&htim5, &sMasterConfig) != HAL_OK)
  {
    Error_Handler();
  }

}

static void MX_DMA_Init(void)
{

  /* DMA controller clock enable */
  __HAL_RCC_DMAMUX1_CLK_ENABLE();
  __HAL_RCC_DMA1_CLK_ENABLE();

  /* DMA interrupt init */
  /* DMA1_Channel1_IRQn interrupt configuration */
  HAL_NVIC_SetPriority(DMA1_Channel1_IRQn, 1, 0);
  HAL_NVIC_EnableIRQ(DMA1_Channel1_IRQn);
  /* DMA1_Channel2_IRQn interrupt configuration */
  HAL_NVIC_SetPriority(DMA1_Channel2_IRQn, 1, 0);
  HAL_NVIC_EnableIRQ(DMA1_Channel2_IRQn);
  /* DMA1_Channel3_IRQn interrupt configuration */
  HAL_NVIC_SetPriority(DMA1_Channel3_IRQn, 0, 0);
  HAL_NVIC_EnableIRQ(DMA1_Channel3_IRQn);
  /* DMA1_Channel4_IRQn interrupt configuration */
  HAL_NVIC_SetPriority(DMA1_Channel4_IRQn, 1, 0);
  HAL_NVIC_EnableIRQ(DMA1_Channel4_IRQn);

}

static void MX_GPIO_Init(void)
{
  GPIO_InitTypeDef GPIO_InitStruct = {0};

  /* GPIO Ports Clock Enable */
  __HAL_RCC_GPIOE_CLK_ENABLE();
  __HAL_RCC_GPIOC_CLK_ENABLE();
  __HAL_RCC_GPIOF_CLK_ENABLE();
  __HAL_RCC_GPIOH_CLK_ENABLE();
  __HAL_RCC_GPIOA_CLK_ENABLE();
  __HAL_RCC_GPIOB_CLK_ENABLE();
  __HAL_RCC_GPIOD_CLK_ENABLE();
  __HAL_RCC_GPIOG_CLK_ENABLE();
  HAL_PWREx_EnableVddIO2();

  /*Configure GPIO pin Output Level */
  HAL_GPIO_WritePin(GPIOE, DISPLAY_CS_Pin|DISPLAY_RESET_Pin, GPIO_PIN_RESET);

  /*Configure GPIO pin Output Level */
  HAL_GPIO_WritePin(DISPLAY_DC_RS_GPIO_Port, DISPLAY_DC_RS_Pin, GPIO_PIN_RESET);

  /*Configure GPIO pins : PE2 PE3 */
  GPIO_InitStruct.Pin = GPIO_PIN_2|GPIO_PIN_3;
  GPIO_InitStruct.Mode = GPIO_MODE_AF_PP;
  GPIO_InitStruct.Pull = GPIO_NOPULL;
  GPIO_InitStruct.Speed = GPIO_SPEED_FREQ_LOW;
  GPIO_InitStruct.Alternate = GPIO_AF13_SAI1;
  HAL_GPIO_Init(GPIOE, &GPIO_InitStruct);

  /*Configure GPIO pin : GESTURE2_INT_Pin */
  GPIO_InitStruct.Pin = GESTURE2_INT_Pin;
  GPIO_InitStruct.Mode = GPIO_MODE_IT_RISING;
  GPIO_InitStruct.Pull = GPIO_NOPULL;
  HAL_GPIO_Init(GESTURE2_INT_GPIO_Port, &GPIO_InitStruct);

  /*Configure GPIO pins : PF0 PF1 PF2 */
  GPIO_InitStruct.Pin = GPIO_PIN_0|GPIO_PIN_1|GPIO_PIN_2;
  GPIO_InitStruct.Mode = GPIO_MODE_AF_OD;
  GPIO_InitStruct.Pull = GPIO_NOPULL;
  GPIO_InitStruct.Speed = GPIO_SPEED_FREQ_VERY_HIGH;
  GPIO_InitStruct.Alternate = GPIO_AF4_I2C2;
  HAL_GPIO_Init(GPIOF, &GPIO_InitStruct);

  /*Configure GPIO pin : PF7 */
  GPIO_InitStruct.Pin = GPIO_PIN_7;
  GPIO_InitStruct.Mode = GPIO_MODE_AF_PP;
  GPIO_InitStruct.Pull = GPIO_NOPULL;
  GPIO_InitStruct.Speed = GPIO_SPEED_FREQ_LOW;
  GPIO_InitStruct.Alternate = GPIO_AF13_SAI1;
  HAL_GPIO_Init(GPIOF, &GPIO_InitStruct);

  /*Configure GPIO pins : PC3 PC4 PC5 */
  GPIO_InitStruct.Pin = GPIO_PIN_3|GPIO_PIN_4|GPIO_PIN_5;
  GPIO_InitStruct.Mode = GPIO_MODE_ANALOG_ADC_CONTROL;
  GPIO_InitStruct.Pull = GPIO_NOPULL;
  HAL_GPIO_Init(GPIOC, &GPIO_InitStruct);

  /*Configure GPIO pins : PA1 PA3 */
  GPIO_InitStruct.Pin = GPIO_PIN_1|GPIO_PIN_3;
  GPIO_InitStruct.Mode = GPIO_MODE_ANALOG_ADC_CONTROL;
  GPIO_InitStruct.Pull = GPIO_NOPULL;
  HAL_GPIO_Init(GPIOA, &GPIO_InitStruct);

  /*Configure GPIO pin : GESTURE1_INT_Pin */
  GPIO_InitStruct.Pin = GESTURE1_INT_Pin;
  GPIO_InitStruct.Mode = GPIO_MODE_IT_RISING;
  GPIO_InitStruct.Pull = GPIO_PULLUP;
  HAL_GPIO_Init(GESTURE1_INT_GPIO_Port, &GPIO_InitStruct);

  /*Configure GPIO pins : PA5 PA6 PA7 */
  GPIO_InitStruct.Pin = GPIO_PIN_5|GPIO_PIN_6|GPIO_PIN_7;
  GPIO_InitStruct.Mode = GPIO_MODE_AF_PP;
  GPIO_InitStruct.Pull = GPIO_NOPULL;
  GPIO_InitStruct.Speed = GPIO_SPEED_FREQ_VERY_HIGH;
  GPIO_InitStruct.Alternate = GPIO_AF5_SPI1;
  HAL_GPIO_Init(GPIOA, &GPIO_InitStruct);

  /*Configure GPIO pin : PB0 */
  GPIO_InitStruct.Pin = GPIO_PIN_0;
  GPIO_InitStruct.Mode = GPIO_MODE_AF_PP;
  GPIO_InitStruct.Pull = GPIO_NOPULL;
  GPIO_InitStruct.Speed = GPIO_SPEED_FREQ_LOW;
  GPIO_InitStruct.Alternate = GPIO_AF2_TIM3;
  HAL_GPIO_Init(GPIOB, &GPIO_InitStruct);

  /*Configure GPIO pin : PB1 */
  GPIO_InitStruct.Pin = GPIO_PIN_1;
  GPIO_InitStruct.Mode = GPIO_MODE_ANALOG_ADC_CONTROL;
  GPIO_InitStruct.Pull = GPIO_NOPULL;
  HAL_GPIO_Init(GPIOB, &GPIO_InitStruct);

  /*Configure GPIO pins : PB2 PB6 */
  GPIO_InitStruct.Pin = GPIO_PIN_2|GPIO_PIN_6;
  GPIO_InitStruct.Mode = GPIO_MODE_ANALOG;
  GPIO_InitStruct.Pull = GPIO_NOPULL;
  HAL_GPIO_Init(GPIOB, &GPIO_InitStruct);

  /*Configure GPIO pins : DISPLAY_CS_Pin DISPLAY_RESET_Pin */
  GPIO_InitStruct.Pin = DISPLAY_CS_Pin|DISPLAY_RESET_Pin;
  GPIO_InitStruct.Mode = GPIO_MODE_OUTPUT_PP;
  GPIO_InitStruct.Pull = GPIO_NOPULL;
  GPIO_InitStruct.Speed = GPIO_SPEED_FREQ_LOW;
  HAL_GPIO_Init(GPIOE, &GPIO_InitStruct);

  /*Configure GPIO pins : PE9 PE10 PE11 PE12
                           PE13 */
  GPIO_InitStruct.Pin = GPIO_PIN_9|GPIO_PIN_10|GPIO_PIN_11|GPIO_PIN_12
                          |GPIO_PIN_13;
  GPIO_InitStruct.Mode = GPIO_MODE_AF_PP;
  GPIO_InitStruct.Pull = GPIO_NOPULL;
  GPIO_InitStruct.Speed = GPIO_SPEED_FREQ_LOW;
  GPIO_InitStruct.Alternate = GPIO_AF1_TIM1;
  HAL_GPIO_Init(GPIOE, &GPIO_InitStruct);

  /*Configure GPIO pins : PE14 PE15 */
  GPIO_InitStruct.Pin = GPIO_PIN_14|GPIO_PIN_15;
  GPIO_InitStruct.Mode = GPIO_MODE_AF_PP;
  GPIO_InitStruct.Pull = GPIO_NOPULL;
  GPIO_InitStruct.Speed = GPIO_SPEED_FREQ_LOW;
  GPIO_InitStruct.Alternate = GPIO_AF3_TIM1_COMP1;
  HAL_GPIO_Init(GPIOE, &GPIO_InitStruct);

  /*Configure GPIO pins : PB12 PB13 PB15 */
  GPIO_InitStruct.Pin = GPIO_PIN_12|GPIO_PIN_13|GPIO_PIN_15;
  GPIO_InitStruct.Mode = GPIO_MODE_AF_PP;
  GPIO_InitStruct.Pull = GPIO_NOPULL;
  GPIO_InitStruct.Speed = GPIO_SPEED_FREQ_LOW;
  GPIO_InitStruct.Alternate = GPIO_AF13_SAI2;
  HAL_GPIO_Init(GPIOB, &GPIO_InitStruct);

  /*Configure GPIO pin : PB14 */
  GPIO_InitStruct.Pin = GPIO_PIN_14;
  GPIO_InitStruct.Mode = GPIO_MODE_AF_PP;
  GPIO_InitStruct.Pull = GPIO_NOPULL;
  GPIO_InitStruct.Speed = GPIO_SPEED_FREQ_LOW;
  GPIO_InitStruct.Alternate = GPIO_AF14_TIM15;
  HAL_GPIO_Init(GPIOB, &GPIO_InitStruct);

  /*Configure GPIO pin : PD8 */
  GPIO_InitStruct.Pin = GPIO_PIN_8;
  GPIO_InitStruct.Mode = GPIO_MODE_AF_PP;
  GPIO_InitStruct.Pull = GPIO_NOPULL;
  GPIO_InitStruct.Speed = GPIO_SPEED_FREQ_VERY_HIGH;
  GPIO_InitStruct.Alternate = GPIO_AF7_USART3;
  HAL_GPIO_Init(GPIOD, &GPIO_InitStruct);

  /*Configure GPIO pin : DISPLAY_DC_RS_Pin */
  GPIO_InitStruct.Pin = DISPLAY_DC_RS_Pin;
  GPIO_InitStruct.Mode = GPIO_MODE_OUTPUT_PP;
  GPIO_InitStruct.Pull = GPIO_NOPULL;
  GPIO_InitStruct.Speed = GPIO_SPEED_FREQ_LOW;
  HAL_GPIO_Init(DISPLAY_DC_RS_GPIO_Port, &GPIO_InitStruct);

  /*Configure GPIO pins : PD14 PD15 */
  GPIO_InitStruct.Pin = GPIO_PIN_14|GPIO_PIN_15;
  GPIO_InitStruct.Mode = GPIO_MODE_AF_PP;
  GPIO_InitStruct.Pull = GPIO_NOPULL;
  GPIO_InitStruct.Speed = GPIO_SPEED_FREQ_LOW;
  GPIO_InitStruct.Alternate = GPIO_AF2_TIM4;
  HAL_GPIO_Init(GPIOD, &GPIO_InitStruct);

  /*Configure GPIO pin : PC6 */
  GPIO_InitStruct.Pin = GPIO_PIN_6;
  GPIO_InitStruct.Mode = GPIO_MODE_AF_PP;
  GPIO_InitStruct.Pull = GPIO_NOPULL;
  GPIO_InitStruct.Speed = GPIO_SPEED_FREQ_LOW;
  GPIO_InitStruct.Alternate = GPIO_AF13_SAI2;
  HAL_GPIO_Init(GPIOC, &GPIO_InitStruct);

  /*Configure GPIO pin : PC7 */
  GPIO_InitStruct.Pin = GPIO_PIN_7;
  GPIO_InitStruct.Mode = GPIO_MODE_AF_PP;
  GPIO_InitStruct.Pull = GPIO_NOPULL;
  GPIO_InitStruct.Speed = GPIO_SPEED_FREQ_LOW;
  GPIO_InitStruct.Alternate = GPIO_AF2_TIM3;
  HAL_GPIO_Init(GPIOC, &GPIO_InitStruct);

  /*Configure GPIO pins : PC8 PC9 PC10 PC11
                           PC12 */
  GPIO_InitStruct.Pin = GPIO_PIN_8|GPIO_PIN_9|GPIO_PIN_10|GPIO_PIN_11
                          |GPIO_PIN_12;
  GPIO_InitStruct.Mode = GPIO_MODE_AF_PP;
  GPIO_InitStruct.Pull = GPIO_NOPULL;
  GPIO_InitStruct.Speed = GPIO_SPEED_FREQ_VERY_HIGH;
  GPIO_InitStruct.Alternate = GPIO_AF12_SDMMC1;
  HAL_GPIO_Init(GPIOC, &GPIO_InitStruct);

  /*Configure GPIO pins : PA8 PA10 */
  GPIO_InitStruct.Pin = GPIO_PIN_8|GPIO_PIN_10;
  GPIO_InitStruct.Mode = GPIO_MODE_AF_PP;
  GPIO_InitStruct.Pull = GPIO_NOPULL;
  GPIO_InitStruct.Speed = GPIO_SPEED_FREQ_VERY_HIGH;
  GPIO_InitStruct.Alternate = GPIO_AF10_OTG_FS;
  HAL_GPIO_Init(GPIOA, &GPIO_InitStruct);

  /*Configure GPIO pin : PA9 */
  GPIO_InitStruct.Pin = GPIO_PIN_9;
  GPIO_InitStruct.Mode = GPIO_MODE_INPUT;
  GPIO_InitStruct.Pull = GPIO_NOPULL;
  HAL_GPIO_Init(GPIOA, &GPIO_InitStruct);

  /*Configure GPIO pin : PD0 */
  GPIO_InitStruct.Pin = GPIO_PIN_0;
  GPIO_InitStruct.Mode = GPIO_MODE_AF_PP;
  GPIO_InitStruct.Pull = GPIO_NOPULL;
  GPIO_InitStruct.Speed = GPIO_SPEED_FREQ_VERY_HIGH;
  GPIO_InitStruct.Alternate = GPIO_AF9_CAN1;
  HAL_GPIO_Init(GPIOD, &GPIO_InitStruct);

  /*Configure GPIO pin : PD2 */
  GPIO_InitStruct.Pin = GPIO_PIN_2;
  GPIO_InitStruct.Mode = GPIO_MODE_AF_PP;
  GPIO_InitStruct.Pull = GPIO_NOPULL;
  GPIO_InitStruct.Speed = GPIO_SPEED_FREQ_VERY_HIGH;
  GPIO_InitStruct.Alternate = GPIO_AF12_SDMMC1;
  HAL_GPIO_Init(GPIOD, &GPIO_InitStruct);

  /*Configure GPIO pins : PB3 PB4 PB5 */
  GPIO_InitStruct.Pin = GPIO_PIN_3|GPIO_PIN_4|GPIO_PIN_5;
  GPIO_InitStruct.Mode = GPIO_MODE_AF_PP;
  GPIO_InitStruct.Pull = GPIO_NOPULL;
  GPIO_InitStruct.Speed = GPIO_SPEED_FREQ_VERY_HIGH;
  GPIO_InitStruct.Alternate = GPIO_AF6_SPI3;
  HAL_GPIO_Init(GPIOB, &GPIO_InitStruct);

  /*Configure GPIO pin : PE0 */
  GPIO_InitStruct.Pin = GPIO_PIN_0;
  GPIO_InitStruct.Mode = GPIO_MODE_AF_PP;
  GPIO_InitStruct.Pull = GPIO_NOPULL;
  GPIO_InitStruct.Speed = GPIO_SPEED_FREQ_LOW;
  GPIO_InitStruct.Alternate = GPIO_AF2_TIM4;
  HAL_GPIO_Init(GPIOE, &GPIO_InitStruct);

  /* EXTI interrupt init*/
  HAL_NVIC_SetPriority(EXTI2_IRQn, 0, 0);
  HAL_NVIC_EnableIRQ(EXTI2_IRQn);

  HAL_NVIC_SetPriority(EXTI4_IRQn, 0, 0);
  HAL_NVIC_EnableIRQ(EXTI4_IRQn);

}

/* USER CODE BEGIN 4 */
#ifdef __GNUC__
#define PUTCHAR_PROTOTYPE int __io_putchar(int ch)
#else
  #define PUTCHAR_PROTOTYPE int fputc(int ch, FILE *f)
#endif /* __GNUC__ */
PUTCHAR_PROTOTYPE
{
  HAL_UART_Transmit(&hlpuart1, (uint8_t *)&ch, 1, 0xFFFF);
  return ch;
}

/* USER CODE END 4 */

void Error_Handler(void)
{
  __disable_irq();
  while (1)
  {
  }
}
